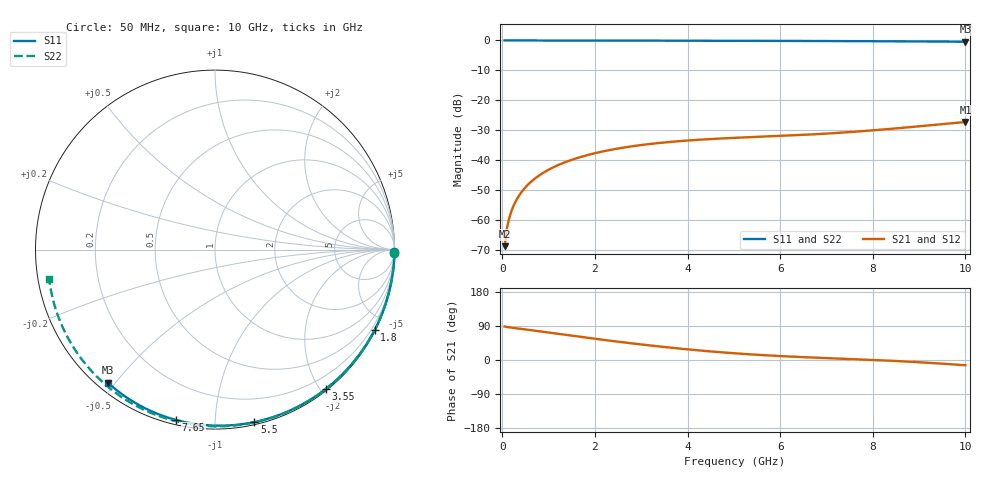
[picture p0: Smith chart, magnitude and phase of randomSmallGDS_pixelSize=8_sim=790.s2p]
! freq	dB(S11)	phase(S11)	dB(S12)	phase(S12)
!  dB(S21)	phase(S21)	dB(S22)	phase(S22)
!S-par simulation data
#  GHz  S  DB  R 50
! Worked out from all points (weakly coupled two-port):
!   200 points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, 50 MHz to 10 GHz, reference 50 ohm
!   highest |S21| = -27.21 dB at 10 GHz (marker M1); lowest = -68.6 dB at 50 MHz (marker M2)
!   lowest |S11| = -0.4 dB at 10 GHz (marker M3), VSWR 40.40, Z = 1.52 - j23.9 ohm
!   |S11| at or under -10 dB: nowhere
!   |S22| runs from -0.5 to 0.0 dB; largest |S21 - S12| = 0
!   S11 on the Smith chart (normalised r, x): 50 MHz: open; 1.8 GHz: 0.04, -4.21; 3.55 GHz: 0.02, -2.07; 5.5 GHz: 0.02, -1.25; 7.65 GHz: 0.02, -0.80; 10 GHz: 0.03, -0.48
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0.05  -0.00 -0.8  -68.64 88.3  -68.64 88.3  -0.00 -1.0
0.1  -0.00 -1.5  -62.71 87.1  -62.71 87.1  -0.00 -2.0
0.15  -0.00 -2.3  -59.26 86.1  -59.26 86.1  -0.00 -3.0
0.2  -0.00 -3.0  -56.82 85.3  -56.82 85.3  -0.00 -4.0
0.35  -0.00 -5.3  -52.04 83.1  -52.04 83.1  -0.01 -7.0
0.5  -0.01 -7.5  -48.99 80.7  -48.99 80.7  -0.01 -10.0
0.7  -0.01 -10.5  -46.12 77.4  -46.12 77.4  -0.02 -14.0
1  -0.02 -15.0  -43.12 72.4  -43.12 72.4  -0.02 -19.9
1.35  -0.03 -20.1  -40.66 66.6  -40.66 66.6  -0.03 -26.7
1.75  -0.03 -26.0  -38.62 60.0  -38.62 60.0  -0.04 -34.4
1.8  -0.03 -26.7  -38.40 59.2  -38.40 59.2  -0.05 -35.4
2.6  -0.05 -38.2  -35.79 46.8  -35.79 46.8  -0.07 -50.5
3.4  -0.07 -49.4  -34.18 35.6  -34.18 35.6  -0.09 -65.0
3.55  -0.07 -51.5  -33.96 33.6  -33.96 33.6  -0.09 -67.7
4.3  -0.09 -61.6  -33.07 24.7  -33.07 24.7  -0.12 -80.7
5.05  -0.11 -71.4  -32.47 17.4  -32.47 17.4  -0.14 -93.2
5.5  -0.13 -77.1  -32.17 13.8  -32.17 13.8  -0.16 -100.5
6.7  -0.18 -91.8  -31.33 6.5  -31.33 6.5  -0.23 -119.3
7.65  -0.23 -102.9  -30.41 2.0  -30.41 2.0  -0.30 -133.8
8.35  -0.28 -110.8  -29.54 -1.7  -29.54 -1.7  -0.36 -144.3
9.2  -0.35 -120.2  -28.36 -7.4  -28.36 -7.4  -0.45 -157.3
10  -0.43 -128.9  -27.21 -13.8  -27.21 -13.8  -0.55 -169.9
